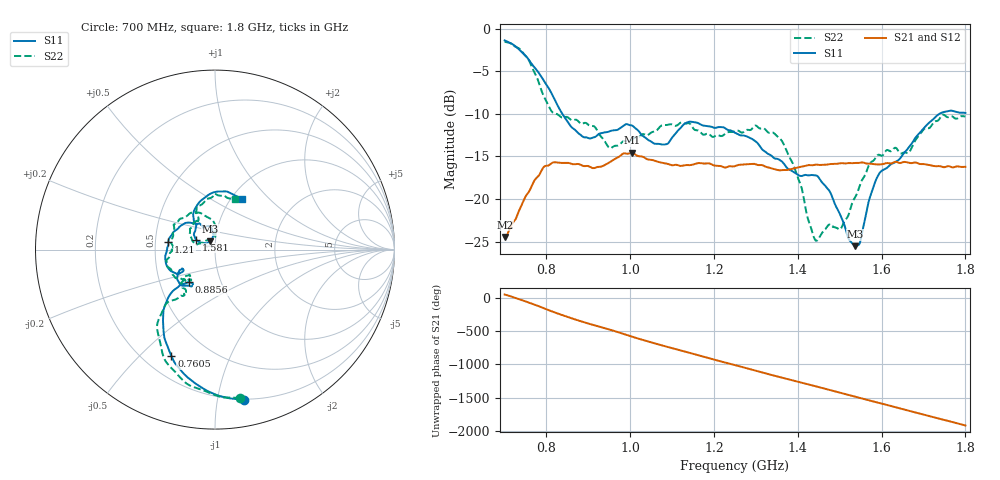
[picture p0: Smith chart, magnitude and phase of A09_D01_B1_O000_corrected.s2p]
! Created with skrf 1.9.0 (http://scikit-rf.org).
# Hz S RI R 50.0
!freq ReS11 ImS11 ReS21 ImS21 ReS12 ImS12 ReS22 ImS22
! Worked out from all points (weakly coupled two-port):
!   1601 points, 700 MHz to 1.8 GHz, reference 50 ohm
!   highest |S21| = -14.58 dB at 1.004 GHz (marker M1); lowest = -24.5 dB at 700.7 MHz (marker M2)
!   lowest |S11| = -25.5 dB at 1.537 GHz (marker M3), VSWR 1.11, Z = 47.2 + j4.33 ohm
!   |S11| at or under -10 dB: 837.6 MHz to 1.738 GHz (900.8 MHz wide, 69.9 % of centre)
!   |S22| runs from -24.9 to -1.5 dB; largest |S21 - S12| = 0.0037
!   S11 on the Smith chart (normalised r, x): 700 MHz: 0.20, -1.19; 760.5 MHz: 0.31, -0.63; 885.6 MHz: 0.70, -0.27; 1.21 GHz: 0.58, +0.05; 1.581 GHz: 0.80, +0.09; 1.8 GHz: 1.11, +0.70
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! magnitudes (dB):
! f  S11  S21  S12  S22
! 700 MHz  -1.4  -24.5  -24.2  -1.5
! 700.7 MHz  -1.4  -24.5  -24.2  -1.5
! 760.5 MHz  -3.9  -18.9  -18.8  -4.0
! 812.8 MHz  -7.7  -15.8  -15.8  -9.8
! 883.6 MHz  -12.6  -16.1  -16.0  -11.2
! 885.6 MHz  -12.7  -16.1  -16.0  -11.2
! 950.9 MHz  -12.1  -15.7  -15.7  -14.0
! 1.004 GHz  -11.4  -14.6  -14.7  -13.0
! 1.067 GHz  -13.5  -15.7  -15.6  -11.7
! 1.138 GHz  -11.0  -16.0  -16.0  -11.1
! 1.21 GHz  -11.6  -16.1  -16.1  -12.5
! 1.25 GHz  -12.2  -16.2  -16.1  -12.0
! 1.36 GHz  -15.5  -16.6  -16.6  -13.1
! 1.405 GHz  -17.3  -16.2  -16.2  -18.2
! 1.434 GHz  -17.2  -16.1  -16.0  -23.8
! 1.502 GHz  -21.9  -15.8  -15.8  -23.5
! 1.537 GHz  -25.5  -15.8  -15.8  -19.8
! 1.581 GHz  -18.5  -15.9  -15.9  -15.5
! 1.617 GHz  -16.2  -15.8  -15.8  -14.3
! 1.664 GHz  -14.0  -15.7  -15.7  -14.6
! 1.736 GHz  -10.1  -16.1  -16.2  -10.7
! 1.8 GHz  -9.9  -16.2  -16.2  -10.3
